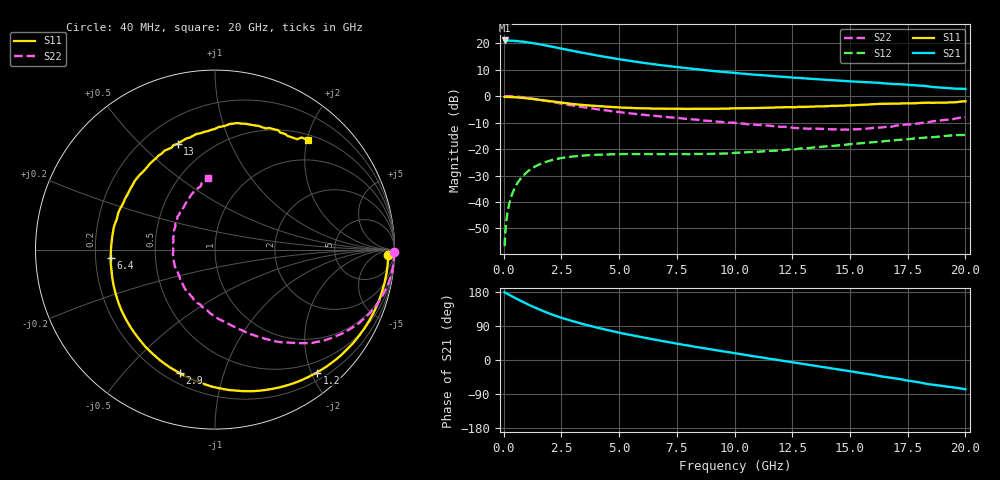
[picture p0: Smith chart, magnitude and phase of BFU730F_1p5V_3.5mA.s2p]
! Filename:  P:\Prog\Test\Noise\ATS_data\Testdata_Net\Split files Spar\BFU730_2W_B1_Bias3_1.5V_1mA_30mA_D.s2p
! Date/Time: Fri 29/Apr/2011 14:16:41
! BFU730_2W_B1_Bias3_1.5V_1mA_30mA_R.s2p
! MDIF S-parameter v. bias file
! BFU730_2W_B1_1.5V_1mA_30mA
! Date/time Thu Mar 17 13:45:32 2011
! VAR V_out= 1.5003
! VAR I_out= 3.4650
! VAR V_in= 0.7802
! VAR I_in= 0.0100
! Device data file deembeded for feedlines and parallel
! Original file: \Split files Spar\BFU730_2W_B1_Bias3_1.5V_1mA_30mA_R.s2p
! Feed-files: PR003V01_101208_Feed1.s2p, PR003V01_101208_Feed2.s2p
! Parallel-file: PR003V01_101208_Par.s2p
# MHz S MA R 50
!  Freq-MHz  S11-mag  S11-arg  S21-mag  S21-arg  S12-mag  S12-arg  S22-mag  S22-arg
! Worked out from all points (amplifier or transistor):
!   167 points, 40 MHz to 20 GHz, reference 50 ohm
!   highest |S21| = 21.0 dB at 50 MHz (marker M1)
!   |S21| within 3 dB of that: start of sweep to 2.458 GHz
!   unconditionally stable (mu >= 1): 7.795 GHz to 16.84 GHz
!   at 550 MHz: K = 0.04, MSG = 27.2 dB, |S12| = -33.5 dB
!   at 4.2 GHz: K = 0.50, MSG = 18.6 dB, |S12| = -22.1 dB
!   at 20 GHz: K = 0.81, MSG = 8.7 dB, |S12| = -14.7 dB
!   S11 on the Smith chart (normalised r, x): 40 MHz: 33, -29; 1.2 GHz: 0.32, -2.09; 2.9 GHz: 0.26, -0.72; 6.4 GHz: 0.26, -0.04; 13 GHz: 0.34, +0.65; 20 GHz: 0.59, +2.01
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40  0.966 -1.7  11.23 178.8  0.001461 89.1  0.9987 -0.9
50  0.9682 -2.6  11.26 178.1  0.001951 74.9  0.9988 -1.1
60  0.9629 -2.5  11.13 177.8  0.002051 87.7  0.9991 -1.3
220  0.9634 -9.5  11.19 172.7  0.008436 85.6  0.9967 -5.1
600  0.9437 -26.0  10.99 160.3  0.02291 75.5  0.9742 -13.8
850  0.9236 -36.4  10.64 152.6  0.03172 68.9  0.9505 -19.2
1200  0.8893 -50.4  10.14 142.6  0.04247 60.6  0.9053 -26.2
1550  0.8515 -63.5  9.557 133.2  0.05139 53.2  0.8558 -32.5
1900  0.8132 -76.0  8.967 124.5  0.05854 46.6  0.8058 -38.2
2350  0.7666 -90.3  8.141 114.6  0.06574 39.3  0.7424 -44.6
2900  0.7157 -106.0  7.271 104.0  0.07157 31.6  0.6723 -50.5
3400  0.6817 -118.7  6.615 95.5  0.07507 26.1  0.6232 -55.5
4000  0.6488 -132.5  5.915 86.1  0.07783 20.7  0.5689 -60.8
4800  0.618 -148.7  5.154 74.8  0.07985 14.9  0.5117 -67.1
6400  0.583 -175.6  4.055 55.3  0.08025 7.2  0.4284 -78.4
6800  0.579 178.4  3.851 50.9  0.08019 6.1  0.4125 -81.3
8200  0.5764 159.7  3.277 35.8  0.08083 3.9  0.3628 -92.5
10200  0.5898 137.1  2.699 16.0  0.08563 3.3  0.3049 -111.1
13000  0.6244 109.5  2.171 -10.5  0.1024 0.9  0.2445 -146.9
13400  0.6338 106.3  2.111 -14.3  0.1071 -0.0  0.2431 -153.8
16800  0.7215 76.4  1.702 -47.0  0.1442 -12.2  0.2647 142.6
20000  0.8003 49.8  1.365 -77.3  0.185 -31.9  0.4003 95.4
